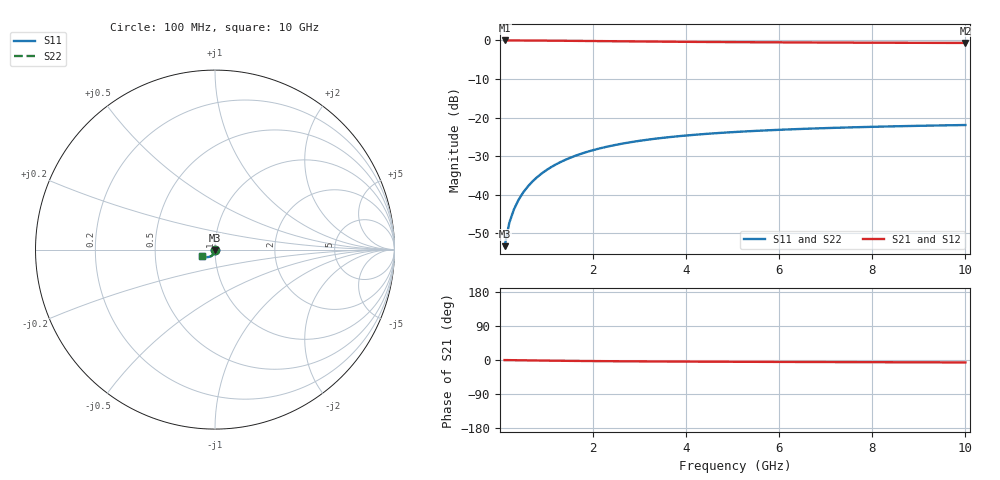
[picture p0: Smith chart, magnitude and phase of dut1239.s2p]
! Touchstone file exported from HFSS 2024.1.0
!  File:  C:/UserFiles/LocalFiles/RDL_TSV_Batchsim/temp_TSV1_1239_1780251240.aedt
!  Generated:  02:18:25 AM Jun  1, 2026
!  Design:  TSV1
!  Project:  temp_TSV1_1239_1780251240
!  Setup:  Setup1
!  Solution:  Sweep
! Variables:
!  dtsv = 13.47um
!  hbump = 3um
!  htsv = 99.01um
!  lrdl = 252.1521522um
!  p = 40
!  p1 = 43.73um
!  t = 500um
!  trdl = 3um
!  wrdl = 24.89489489um
# GHz S MA R 50.000000
! Terminal data exported
! Port[1] = TSV22_T1
! Port[2] = TSV22_T2
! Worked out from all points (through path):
!   100 points, 100 MHz to 10 GHz, reference 50 ohm
!   highest |S21| = 0.00 dB at 100 MHz (marker M1); lowest = -0.6 dB at 10 GHz (marker M2)
!   lowest |S11| = -53.3 dB at 100 MHz (marker M3), VSWR 1.00, Z = 50 - j0.215 ohm
!   |S11| at or under -10 dB: start of sweep to end of sweep
!   |S22| runs from -53.3 to -21.9 dB; largest |S21 - S12| = 7.2e-15
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0.1  0.002153 -88.8  0.9998 -0.2  0.9998 -0.2  0.002153 -88.8
! Gamma 0 0 0 0
! Port Impedance 50 0 50 0
0.2  0.004304 -91.5  0.9996 -0.3  0.9996 -0.3  0.004304 -91.5
0.3  0.006455 -93.4  0.9993 -0.5  0.9993 -0.5  0.006455 -93.4
0.4  0.008597 -95.2  0.9989 -0.7  0.9989 -0.7  0.008597 -95.2
0.5  0.01072 -96.8  0.9984 -0.8  0.9984 -0.8  0.01072 -96.8
0.6  0.01282 -98.4  0.9978 -1.0  0.9978 -1.0  0.01282 -98.4
0.7  0.01489 -100.0  0.9971 -1.1  0.9971 -1.1  0.01489 -100.0
0.8  0.01693 -101.5  0.9963 -1.3  0.9963 -1.3  0.01693 -101.5
0.9  0.01893 -103.1  0.9954 -1.5  0.9954 -1.5  0.01893 -103.1
1.1  0.0228 -106.0  0.9935 -1.7  0.9935 -1.7  0.0228 -106.0
1.4  0.02826 -110.1  0.9902 -2.1  0.9902 -2.1  0.02826 -110.1
1.6  0.03165 -112.7  0.9878 -2.4  0.9878 -2.4  0.03165 -112.7
1.8  0.03483 -115.1  0.9853 -2.6  0.9853 -2.6  0.03483 -115.1
2.1  0.03924 -118.6  0.9815 -2.9  0.9815 -2.9  0.03924 -118.6
2.5  0.04444 -122.7  0.9764 -3.3  0.9764 -3.3  0.04444 -122.7
2.9  0.04895 -126.4  0.9715 -3.6  0.9715 -3.6  0.04895 -126.4
3.4  0.05377 -130.4  0.9659 -3.9  0.9659 -3.9  0.05377 -130.4
4.2  0.05996 -135.7  0.958 -4.3  0.958 -4.3  0.05996 -135.7
5.1  0.06529 -140.5  0.9507 -4.7  0.9507 -4.7  0.06529 -140.5
6.7  0.07205 -146.8  0.9409 -5.3  0.9409 -5.3  0.07205 -146.8
8.4  0.07688 -151.7  0.9336 -5.9  0.9336 -5.9  0.07688 -151.7
10  0.0801 -155.2  0.9286 -6.4  0.9286 -6.4  0.0801 -155.2
